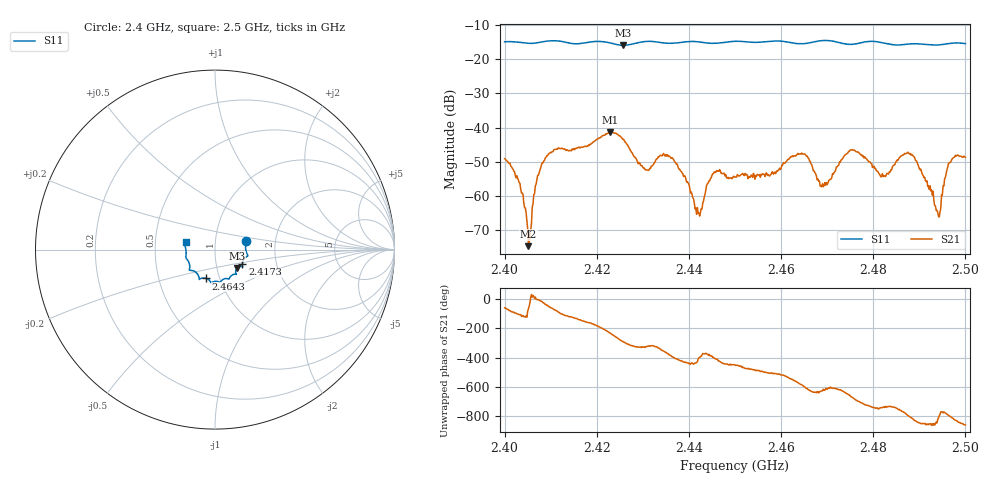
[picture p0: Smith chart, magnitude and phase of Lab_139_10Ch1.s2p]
# Hz S RI R 50
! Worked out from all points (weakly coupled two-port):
!   601 points, 2.4 GHz to 2.5 GHz, reference 50 ohm
!   highest |S21| = -41.39 dB at 2.4228 GHz (marker M1); lowest = -74.7 dB at 2.4052 GHz (marker M2)
!   lowest |S11| = -15.9 dB at 2.4257 GHz (marker M3), VSWR 1.38, Z = 62.5 - j13.1 ohm
!   |S11| at or under -10 dB: start of sweep to end of sweep
!   S12 and S22 are empty: the file has one direction only
!   S11 on the Smith chart (normalised r, x): 2.4 GHz: 1.41, +0.14; 2.4173 GHz: 1.34, -0.23; 2.4643 GHz: 0.86, -0.28; 2.5 GHz: 0.72, +0.06
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2.4e9  0.1732 0.0495  0.00179 -0.00303  0 0  0 0
2.403167e9  0.174 0.0332  -0.000438 -0.0015  0 0  0 0
2.405167e9  0.1705 0.0115  7.39e-05 -0.000169  0 0  0 0
2.408667e9  0.1804 -0.0261  0.00285 -0.00173  0 0  0 0
2.416667e9  0.153 -0.0746  -0.00426 -0.00295  0 0  0 0
2.417333e9  0.1523 -0.082  -0.00466 -0.0025  0 0  0 0
2.422833e9  0.1465 -0.0937  -0.0054 0.00658  0 0  0 0
2.425667e9  0.1231 -0.1021  0.00226 0.00634  0 0  0 0
2.433333e9  0.1129 -0.1371  0.00335 0.00166  0 0  0 0
2.437e9  0.0875 -0.1486  0.0022 -0.00219  0 0  0 0
2.442e9  0.0746 -0.1641  0.000383 -0.000417  0 0  0 0
2.4455e9  0.0518 -0.1628  0.00165 -0.00154  0 0  0 0
2.45e9  0.0294 -0.1807  5.69e-05 -0.00188  0 0  0 0
2.464333e9  -0.05 -0.1606  -0.00299 0.00279  0 0  0 0
2.466667e9  -0.0759 -0.1596  -3.34e-05 0.00285  0 0  0 0
2.469667e9  -0.0878 -0.1666  -0.000457 0.00136  0 0  0 0
2.4755e9  -0.1111 -0.1228  0.00308 0.00359  0 0  0 0
2.483333e9  -0.1409 -0.0899  0.00204 -0.000454  0 0  0 0
2.4885e9  -0.1614 -0.0481  -0.000199 -0.00394  0 0  0 0
2.494167e9  -0.1619 0.000331  2.07e-05 -0.000499  0 0  0 0
2.496667e9  -0.169 0.024  0.000592 -0.00303  0 0  0 0
2.5e9  -0.1637 0.0421  -0.00274 -0.00246  0 0  0 0
